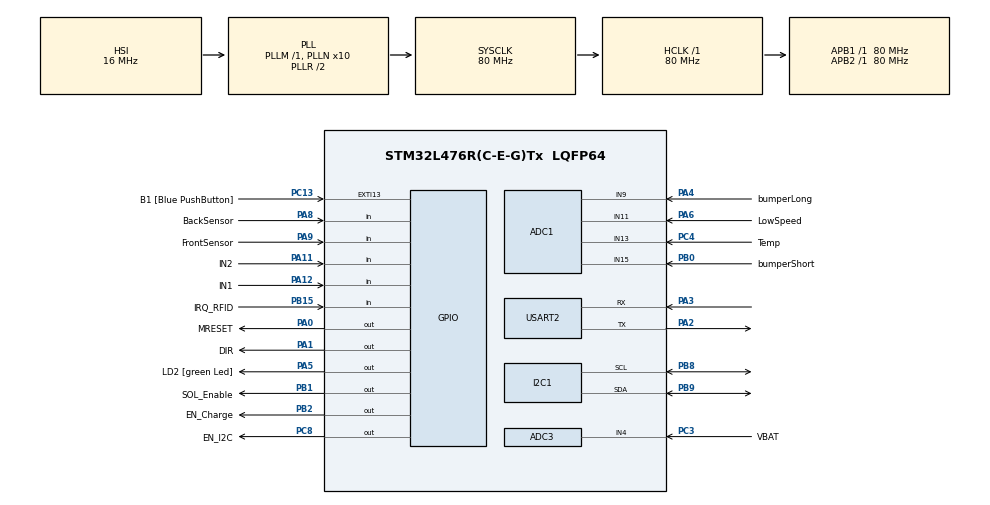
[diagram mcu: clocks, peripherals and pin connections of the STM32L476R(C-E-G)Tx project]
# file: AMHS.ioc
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ADC1.Channel-1\#ChannelRegularConversion=ADC_CHANNEL_9
ADC1.NbrOfConversionFlag=1
ADC1.OffsetNumber-1\#ChannelRegularConversion=ADC_OFFSET_NONE
ADC1.Rank-1\#ChannelRegularConversion=1
ADC1.SamplingTime-1\#ChannelRegularConversion=ADC_SAMPLETIME_2CYCLES_5
ADC1.master=1
ADC3.Channel-0\#ChannelRegularConversion=ADC_CHANNEL_4
ADC3.NbrOfConversionFlag=1
ADC3.OffsetNumber-0\#ChannelRegularConversion=ADC_OFFSET_NONE
ADC3.Rank-0\#ChannelRegularConversion=1
ADC3.SamplingTime-0\#ChannelRegularConversion=ADC_SAMPLETIME_2CYCLES_5
I2C1.OwnAddress=12
I2C1.Timing=0x10D19CE4
Mcu.Family=STM32L4
Mcu.Name=STM32L476R(C-E-G)Tx
Mcu.Package=LQFP64
NVIC.I2C1_ER_IRQn=true\:0\:0\:false\:false\:true\:true\:true\:true
NVIC.I2C1_EV_IRQn=true\:0\:0\:false\:false\:true\:true\:true\:true
NVIC.PriorityGroup=NVIC_PRIORITYGROUP_4
PA0.GPIO_Label=MRESET
PA0.Signal=GPIO_Output
PA1.GPIO_Label=DIR
PA1.Signal=GPIO_Output
PA11.GPIO_Label=IN2
PA11.Signal=GPIO_Input
PA12.GPIO_Label=IN1
PA12.Signal=GPIO_Input
PA13\ (JTMS-SWDIO).GPIO_Label=TMS
PA13\ (JTMS-SWDIO).Mode=Serial_Wire
PA13\ (JTMS-SWDIO).Signal=SYS_JTMS-SWDIO
PA14\ (JTCK-SWCLK).GPIO_Label=TCK
PA14\ (JTCK-SWCLK).Mode=Serial_Wire
PA14\ (JTCK-SWCLK).Signal=SYS_JTCK-SWCLK
PA2.Mode=Asynchronous
PA2.Signal=USART2_TX
PA3.Mode=Asynchronous
PA3.Signal=USART2_RX
PA4.GPIO_Label=bumperLong
PA4.Signal=ADCx_IN9
PA5.GPIO_Label=LD2 [green Led]
PA5.GPIO_ModeDefaultOutputPP=GPIO_MODE_OUTPUT_PP
PA5.GPIO_PuPd=GPIO_NOPULL
PA5.GPIO_Speed=GPIO_SPEED_FREQ_LOW
PA5.Signal=GPIO_Output
PA6.GPIO_Label=LowSpeed
PA6.Signal=ADCx_IN11
PA8.GPIO_Label=BackSensor
PA8.Signal=GPIO_Input
PA9.GPIO_Label=FrontSensor
PA9.Signal=GPIO_Input
PB0.GPIO_Label=bumperShort
PB0.Signal=ADCx_IN15
PB1.GPIO_Label=SOL_Enable
PB1.Signal=GPIO_Output
PB13.GPIO_Label=SCL_RFID
PB13.Signal=I2C2_SCL
PB14.GPIO_Label=SDA_RFID
PB14.Signal=I2C2_SDA
PB15.GPIO_Label=IRQ_RFID
PB15.Signal=GPIO_Input
PB2.GPIO_Label=EN_Charge
PB2.Signal=GPIO_Output
PB3\ (JTDO-TRACESWO).GPIO_Label=SWO
PB3\ (JTDO-TRACESWO).Signal=SYS_JTDO-SWO
PB8.GPIO_Pu=GPIO_PULLUP
PB8.Mode=I2C
PB8.Signal=I2C1_SCL
PB9.GPIO_Pu=GPIO_PULLUP
PB9.Mode=I2C
PB9.Signal=I2C1_SDA
PC0.GPIO_Label=SCL_CapteurVA
PC0.Signal=I2C3_SCL
PC1.GPIO_Label=SDA_CapteurVA
PC1.Signal=I2C3_SDA
PC13.GPIO_Label=B1 [Blue PushButton]
PC13.GPIO_ModeDefaultEXTI=GPIO_MODE_IT_FALLING
PC13.GPIO_PuPd=GPIO_NOPULL
PC13.Signal=GPXTI13
PC14-OSC32_IN\ (PC14).Mode=LSE-External-Oscillator
PC14-OSC32_IN\ (PC14).Signal=RCC_OSC32_IN
PC15-OSC32_OUT\ (PC15).Mode=LSE-External-Oscillator
PC15-OSC32_OUT\ (PC15).Signal=RCC_OSC32_OUT
PC3.GPIO_Label=VBAT
PC3.Signal=ADCx_IN4
PC4.GPIO_Label=Temp
PC4.Signal=ADCx_IN13
PC8.GPIO_Label=EN_I2C
PC8.Signal=GPIO_Output
PH0-OSC_IN\ (PH0).Signal=RCC_OSC_IN
PH1-OSC_OUT\ (PH1).Signal=RCC_OSC_OUT
ProjectManager.HeapSize=0x200
ProjectManager.StackSize=0x400
ProjectManager.TargetToolchain=STM32CubeIDE
RCC.ADCFreq_Value=64000000
RCC.AHBFreq_Value=80000000
RCC.APB1Freq_Value=80000000
RCC.APB1TimFreq_Value=80000000
RCC.APB2Freq_Value=80000000
RCC.APB2TimFreq_Value=80000000
RCC.CortexFreq_Value=80000000
RCC.HCLKFreq_Value=80000000
RCC.HSE_VALUE=8000000
RCC.HSI_VALUE=16000000
RCC.MSI_VALUE=4000000
RCC.PLLN=10
RCC.PLLSourceVirtual=RCC_PLLSOURCE_HSI
RCC.PREFETCH_ENABLE=1
RCC.SYSCLKFreq_VALUE=80000000
RCC.SYSCLKSource=RCC_SYSCLKSOURCE_PLLCLK
RCC.USBFreq_Value=64000000
RCC.VCOOutputFreq_Value=160000000
SH.ADCx_IN11.0=ADC1_IN11,IN11-Single-Ended
SH.ADCx_IN13.0=ADC1_IN13,IN13-Single-Ended
SH.ADCx_IN15.0=ADC1_IN15,IN15-Single-Ended
SH.ADCx_IN4.0=ADC3_IN4,IN4-Single-Ended
SH.ADCx_IN4.1=ADC1_IN4
SH.ADCx_IN9.0=ADC1_IN9,IN9-Single-Ended
USART2.VirtualMode-Asynchronous=VM_ASYNC
board=NUCLEO-L476RG

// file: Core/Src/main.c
/* USER CODE BEGIN Header */
/**
  ******************************************************************************
  * @file           : main.c
  * @brief          : Main program body
  ******************************************************************************
  * @attention
  *
  * Copyright (c) 2026 STMicroelectronics.
  * All rights reserved.
  *
  * This software is licensed under terms that can be found in the LICENSE file
  * in the root directory of this software component.
  * If no LICENSE file comes with this software, it is provided AS-IS.
  *
  ******************************************************************************
  */
/* USER CODE END Header */
#include "main.h"

/* USER CODE BEGIN Includes */
#include <string.h>
#include <stdio.h>

/* USER CODE END Includes */

ADC_HandleTypeDef hadc1;
ADC_HandleTypeDef hadc3;

I2C_HandleTypeDef hi2c1;

UART_HandleTypeDef huart2;

/* USER CODE BEGIN PV */
uint8_t i2c_rx_buffer[8];

float temperature = 0.0f;
float tension = 0.0f;

char uart_msg[100];

/* USER CODE END PV */

void SystemClock_Config(void);
void PeriphCommonClock_Config(void);
static void MX_GPIO_Init(void);
static void MX_ADC1_Init(void);
static void MX_ADC3_Init(void);
static void MX_I2C1_Init(void);
static void MX_USART2_UART_Init(void);

int main(void)
{

  /* MCU Configuration--------------------------------------------------------*/

  /* Reset of all peripherals, Initializes the Flash interface and the Systick. */
  HAL_Init();

  /* Configure the system clock */
  SystemClock_Config();

  /* Configure the peripherals common clocks */
  PeriphCommonClock_Config();

  /* Initialize all configured peripherals */
  MX_GPIO_Init();
  MX_ADC1_Init();
  MX_ADC3_Init();
  MX_I2C1_Init();
  MX_USART2_UART_Init();
  /* USER CODE BEGIN 2 */
  // Activer l’I2C externe
  HAL_GPIO_WritePin(EN_I2C_GPIO_Port, EN_I2C_Pin, GPIO_PIN_SET);

  // Lancer la réception I2C (8 octets)
  HAL_I2C_Slave_Receive_IT(&hi2c1, i2c_rx_buffer, 8);

  // Message debug
  char start_msg[] = "STM32 I2C SLAVE READY\r\n";
  HAL_UART_Transmit(&huart2, (uint8_t*)start_msg, sizeof(start_msg)-1, HAL_MAX_DELAY);

  /* USER CODE END 2 */

  /* Infinite loop */
  while (1)
  {
	  HAL_Delay(500);
	  HAL_GPIO_WritePin(LD2_GPIO_Port, LD2_Pin, GPIO_PIN_RESET);

  }
}

void SystemClock_Config(void)
{
  RCC_OscInitTypeDef RCC_OscInitStruct = {0};
  RCC_ClkInitTypeDef RCC_ClkInitStruct = {0};

  /** Configure the main internal regulator output voltage
  */
  if (HAL_PWREx_ControlVoltageScaling(PWR_REGULATOR_VOLTAGE_SCALE1) != HAL_OK)
  {
    Error_Handler();
  }

  /** Initializes the RCC Oscillators according to the specified parameters
  * in the RCC_OscInitTypeDef structure.
  */
  RCC_OscInitStruct.OscillatorType = RCC_OSCILLATORTYPE_HSI;
  RCC_OscInitStruct.HSIState = RCC_HSI_ON;
  RCC_OscInitStruct.HSICalibrationValue = RCC_HSICALIBRATION_DEFAULT;
  RCC_OscInitStruct.PLL.PLLState = RCC_PLL_ON;
  RCC_OscInitStruct.PLL.PLLSource = RCC_PLLSOURCE_HSI;
  RCC_OscInitStruct.PLL.PLLM = 1;
  RCC_OscInitStruct.PLL.PLLN = 10;
  RCC_OscInitStruct.PLL.PLLP = RCC_PLLP_DIV7;
  RCC_OscInitStruct.PLL.PLLQ = RCC_PLLQ_DIV2;
  RCC_OscInitStruct.PLL.PLLR = RCC_PLLR_DIV2;
  if (HAL_RCC_OscConfig(&RCC_OscInitStruct) != HAL_OK)
  {
    Error_Handler();
  }

  /** Initializes the CPU, AHB and APB buses clocks
  */
  RCC_ClkInitStruct.ClockType = RCC_CLOCKTYPE_HCLK|RCC_CLOCKTYPE_SYSCLK
                              |RCC_CLOCKTYPE_PCLK1|RCC_CLOCKTYPE_PCLK2;
  RCC_ClkInitStruct.SYSCLKSource = RCC_SYSCLKSOURCE_PLLCLK;
  RCC_ClkInitStruct.AHBCLKDivider = RCC_SYSCLK_DIV1;
  RCC_ClkInitStruct.APB1CLKDivider = RCC_HCLK_DIV1;
  RCC_ClkInitStruct.APB2CLKDivider = RCC_HCLK_DIV1;

  if (HAL_RCC_ClockConfig(&RCC_ClkInitStruct, FLASH_LATENCY_4) != HAL_OK)
  {
    Error_Handler();
  }
}

void PeriphCommonClock_Config(void)
{
  RCC_PeriphCLKInitTypeDef PeriphClkInit = {0};

  /** Initializes the peripherals clock
  */
  PeriphClkInit.PeriphClockSelection = RCC_PERIPHCLK_ADC;
  PeriphClkInit.AdcClockSelection = RCC_ADCCLKSOURCE_PLLSAI1;
  PeriphClkInit.PLLSAI1.PLLSAI1Source = RCC_PLLSOURCE_HSI;
  PeriphClkInit.PLLSAI1.PLLSAI1M = 1;
  PeriphClkInit.PLLSAI1.PLLSAI1N = 8;
  PeriphClkInit.PLLSAI1.PLLSAI1P = RCC_PLLP_DIV7;
  PeriphClkInit.PLLSAI1.PLLSAI1Q = RCC_PLLQ_DIV2;
  PeriphClkInit.PLLSAI1.PLLSAI1R = RCC_PLLR_DIV2;
  PeriphClkInit.PLLSAI1.PLLSAI1ClockOut = RCC_PLLSAI1_ADC1CLK;
  if (HAL_RCCEx_PeriphCLKConfig(&PeriphClkInit) != HAL_OK)
  {
    Error_Handler();
  }
}

static void MX_ADC1_Init(void)
{

  ADC_MultiModeTypeDef multimode = {0};
  ADC_ChannelConfTypeDef sConfig = {0};

  /** Common config
  */
  hadc1.Instance = ADC1;
  hadc1.Init.ClockPrescaler = ADC_CLOCK_ASYNC_DIV1;
  hadc1.Init.Resolution = ADC_RESOLUTION_12B;
  hadc1.Init.DataAlign = ADC_DATAALIGN_RIGHT;
  hadc1.Init.ScanConvMode = ADC_SCAN_DISABLE;
  hadc1.Init.EOCSelection = ADC_EOC_SINGLE_CONV;
  hadc1.Init.LowPowerAutoWait = DISABLE;
  hadc1.Init.ContinuousConvMode = DISABLE;
  hadc1.Init.NbrOfConversion = 1;
  hadc1.Init.DiscontinuousConvMode = DISABLE;
  hadc1.Init.ExternalTrigConv = ADC_SOFTWARE_START;
  hadc1.Init.ExternalTrigConvEdge = ADC_EXTERNALTRIGCONVEDGE_NONE;
  hadc1.Init.DMAContinuousRequests = DISABLE;
  hadc1.Init.Overrun = ADC_OVR_DATA_PRESERVED;
  hadc1.Init.OversamplingMode = DISABLE;
  if (HAL_ADC_Init(&hadc1) != HAL_OK)
  {
    Error_Handler();
  }

  /** Configure the ADC multi-mode
  */
  multimode.Mode = ADC_MODE_INDEPENDENT;
  if (HAL_ADCEx_MultiModeConfigChannel(&hadc1, &multimode) != HAL_OK)
  {
    Error_Handler();
  }

  /** Configure Regular Channel
  */
  sConfig.Channel = ADC_CHANNEL_9;
  sConfig.Rank = ADC_REGULAR_RANK_1;
  sConfig.SamplingTime = ADC_SAMPLETIME_2CYCLES_5;
  sConfig.SingleDiff = ADC_SINGLE_ENDED;
  sConfig.OffsetNumber = ADC_OFFSET_NONE;
  sConfig.Offset = 0;
  if (HAL_ADC_ConfigChannel(&hadc1, &sConfig) != HAL_OK)
  {
    Error_Handler();
  }

}

static void MX_ADC3_Init(void)
{

  ADC_ChannelConfTypeDef sConfig = {0};

  /** Common config
  */
  hadc3.Instance = ADC3;
  hadc3.Init.ClockPrescaler = ADC_CLOCK_ASYNC_DIV1;
  hadc3.Init.Resolution = ADC_RESOLUTION_12B;
  hadc3.Init.DataAlign = ADC_DATAALIGN_RIGHT;
  hadc3.Init.ScanConvMode = ADC_SCAN_DISABLE;
  hadc3.Init.EOCSelection = ADC_EOC_SINGLE_CONV;
  hadc3.Init.LowPowerAutoWait = DISABLE;
  hadc3.Init.ContinuousConvMode = DISABLE;
  hadc3.Init.NbrOfConversion = 1;
  hadc3.Init.DiscontinuousConvMode = DISABLE;
  hadc3.Init.ExternalTrigConv = ADC_SOFTWARE_START;
  hadc3.Init.ExternalTrigConvEdge = ADC_EXTERNALTRIGCONVEDGE_NONE;
  hadc3.Init.DMAContinuousRequests = DISABLE;
  hadc3.Init.Overrun = ADC_OVR_DATA_PRESERVED;
  hadc3.Init.OversamplingMode = DISABLE;
  if (HAL_ADC_Init(&hadc3) != HAL_OK)
  {
    Error_Handler();
  }

  /** Configure Regular Channel
  */
  sConfig.Channel = ADC_CHANNEL_4;
  sConfig.Rank = ADC_REGULAR_RANK_1;
  sConfig.SamplingTime = ADC_SAMPLETIME_2CYCLES_5;
  sConfig.SingleDiff = ADC_SINGLE_ENDED;
  sConfig.OffsetNumber = ADC_OFFSET_NONE;
  sConfig.Offset = 0;
  if (HAL_ADC_ConfigChannel(&hadc3, &sConfig) != HAL_OK)
  {
    Error_Handler();
  }

}

static void MX_I2C1_Init(void)
{

  hi2c1.Instance = I2C1;
  hi2c1.Init.Timing = 0x10D19CE4;
  hi2c1.Init.OwnAddress1 = 24;
  hi2c1.Init.AddressingMode = I2C_ADDRESSINGMODE_7BIT;
  hi2c1.Init.DualAddressMode = I2C_DUALADDRESS_DISABLE;
  hi2c1.Init.OwnAddress2 = 0;
  hi2c1.Init.OwnAddress2Masks = I2C_OA2_NOMASK;
  hi2c1.Init.GeneralCallMode = I2C_GENERALCALL_DISABLE;
  hi2c1.Init.NoStretchMode = I2C_NOSTRETCH_DISABLE;
  if (HAL_I2C_Init(&hi2c1) != HAL_OK)
  {
    Error_Handler();
  }

  /** Configure Analogue filter
  */
  if (HAL_I2CEx_ConfigAnalogFilter(&hi2c1, I2C_ANALOGFILTER_ENABLE) != HAL_OK)
  {
    Error_Handler();
  }

  /** Configure Digital filter
  */
  if (HAL_I2CEx_ConfigDigitalFilter(&hi2c1, 0) != HAL_OK)
  {
    Error_Handler();
  }

}

static void MX_USART2_UART_Init(void)
{

  huart2.Instance = USART2;
  huart2.Init.BaudRate = 115200;
  huart2.Init.WordLength = UART_WORDLENGTH_8B;
  huart2.Init.StopBits = UART_STOPBITS_1;
  huart2.Init.Parity = UART_PARITY_NONE;
  huart2.Init.Mode = UART_MODE_TX_RX;
  huart2.Init.HwFlowCtl = UART_HWCONTROL_NONE;
  huart2.Init.OverSampling = UART_OVERSAMPLING_16;
  huart2.Init.OneBitSampling = UART_ONE_BIT_SAMPLE_DISABLE;
  huart2.AdvancedInit.AdvFeatureInit = UART_ADVFEATURE_NO_INIT;
  if (HAL_UART_Init(&huart2) != HAL_OK)
  {
    Error_Handler();
  }

}

static void MX_GPIO_Init(void)
{
  GPIO_InitTypeDef GPIO_InitStruct = {0};

  /* GPIO Ports Clock Enable */
  __HAL_RCC_GPIOC_CLK_ENABLE();
  __HAL_RCC_GPIOH_CLK_ENABLE();
  __HAL_RCC_GPIOA_CLK_ENABLE();
  __HAL_RCC_GPIOB_CLK_ENABLE();

  /*Configure GPIO pin Output Level */
  HAL_GPIO_WritePin(GPIOA, MRESET_Pin|DIR_Pin|LD2_Pin, GPIO_PIN_RESET);

  /*Configure GPIO pin Output Level */
  HAL_GPIO_WritePin(GPIOB, SOL_Enable_Pin|EN_Charge_Pin, GPIO_PIN_RESET);

  /*Configure GPIO pin Output Level */
  HAL_GPIO_WritePin(EN_I2C_GPIO_Port, EN_I2C_Pin, GPIO_PIN_RESET);

  /*Configure GPIO pin : B1_Pin */
  GPIO_InitStruct.Pin = B1_Pin;
  GPIO_InitStruct.Mode = GPIO_MODE_IT_FALLING;
  GPIO_InitStruct.Pull = GPIO_NOPULL;
  HAL_GPIO_Init(B1_GPIO_Port, &GPIO_InitStruct);

  /*Configure GPIO pins : SCL_CapteurVA_Pin SDA_CapteurVA_Pin */
  GPIO_InitStruct.Pin = SCL_CapteurVA_Pin|SDA_CapteurVA_Pin;
  GPIO_InitStruct.Mode = GPIO_MODE_AF_OD;
  GPIO_InitStruct.Pull = GPIO_NOPULL;
  GPIO_InitStruct.Speed = GPIO_SPEED_FREQ_VERY_HIGH;
  GPIO_InitStruct.Alternate = GPIO_AF4_I2C3;
  HAL_GPIO_Init(GPIOC, &GPIO_InitStruct);

  /*Configure GPIO pins : MRESET_Pin DIR_Pin LD2_Pin */
  GPIO_InitStruct.Pin = MRESET_Pin|DIR_Pin|LD2_Pin;
  GPIO_InitStruct.Mode = GPIO_MODE_OUTPUT_PP;
  GPIO_InitStruct.Pull = GPIO_NOPULL;
  GPIO_InitStruct.Speed = GPIO_SPEED_FREQ_LOW;
  HAL_GPIO_Init(GPIOA, &GPIO_InitStruct);

  /*Configure GPIO pins : SOL_Enable_Pin EN_Charge_Pin */
  GPIO_InitStruct.Pin = SOL_Enable_Pin|EN_Charge_Pin;
  GPIO_InitStruct.Mode = GPIO_MODE_OUTPUT_PP;
  GPIO_InitStruct.Pull = GPIO_NOPULL;
  GPIO_InitStruct.Speed = GPIO_SPEED_FREQ_LOW;
  HAL_GPIO_Init(GPIOB, &GPIO_InitStruct);

  /*Configure GPIO pins : SCL_RFID_Pin SDA_RFID_Pin */
  GPIO_InitStruct.Pin = SCL_RFID_Pin|SDA_RFID_Pin;
  GPIO_InitStruct.Mode = GPIO_MODE_AF_OD;
  GPIO_InitStruct.Pull = GPIO_NOPULL;
  GPIO_InitStruct.Speed = GPIO_SPEED_FREQ_VERY_HIGH;
  GPIO_InitStruct.Alternate = GPIO_AF4_I2C2;
  HAL_GPIO_Init(GPIOB, &GPIO_InitStruct);

  /*Configure GPIO pin : IRQ_RFID_Pin */
  GPIO_InitStruct.Pin = IRQ_RFID_Pin;
  GPIO_InitStruct.Mode = GPIO_MODE_INPUT;
  GPIO_InitStruct.Pull = GPIO_NOPULL;
  HAL_GPIO_Init(IRQ_RFID_GPIO_Port, &GPIO_InitStruct);

  /*Configure GPIO pin : EN_I2C_Pin */
  GPIO_InitStruct.Pin = EN_I2C_Pin;
  GPIO_InitStruct.Mode = GPIO_MODE_OUTPUT_PP;
  GPIO_InitStruct.Pull = GPIO_NOPULL;
  GPIO_InitStruct.Speed = GPIO_SPEED_FREQ_LOW;
  HAL_GPIO_Init(EN_I2C_GPIO_Port, &GPIO_InitStruct);

  /*Configure GPIO pins : BackSensor_Pin FrontSensor_Pin IN2_Pin IN1_Pin */
  GPIO_InitStruct.Pin = BackSensor_Pin|FrontSensor_Pin|IN2_Pin|IN1_Pin;
  GPIO_InitStruct.Mode = GPIO_MODE_INPUT;
  GPIO_InitStruct.Pull = GPIO_NOPULL;
  HAL_GPIO_Init(GPIOA, &GPIO_InitStruct);

}

/* USER CODE BEGIN 4 */
void HAL_I2C_SlaveRxCpltCallback(I2C_HandleTypeDef *hi2c)
{
  if (hi2c->Instance == I2C1)
  {
    // Décodage des floats
    memcpy(&temperature, &i2c_rx_buffer[0], 4);
    memcpy(&tension, &i2c_rx_buffer[4], 4);

    // Affichage UART
    int temp_i = (int)(temperature * 100);
    int tens_i = (int)(tension * 100);

    snprintf(uart_msg, sizeof(uart_msg),
             "Temp=%d.%02d C | Tension=%d.%02d V\r\n",
             temp_i / 100, temp_i % 100,
             tens_i / 100, tens_i % 100);

    HAL_UART_Transmit(&huart2,
                      (uint8_t*)uart_msg,
                      strlen(uart_msg),
                      HAL_MAX_DELAY);

    // LED ON pour debug
    HAL_GPIO_WritePin(LD2_GPIO_Port, LD2_Pin, GPIO_PIN_SET);

    // Relancer la réception I2C
    HAL_I2C_Slave_Receive_IT(&hi2c1, i2c_rx_buffer, 8);
  }
}

/* USER CODE END 4 */

void Error_Handler(void)
{
  __disable_irq();
  while (1)
  {
  }
}
